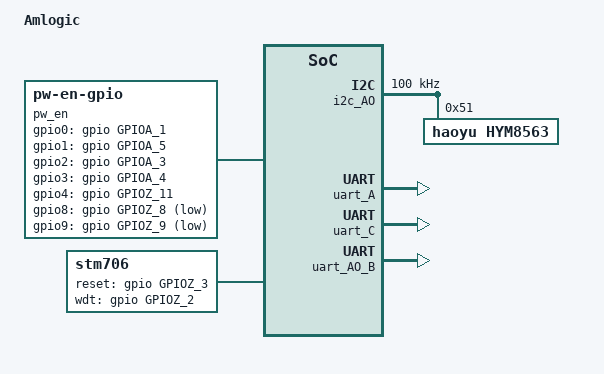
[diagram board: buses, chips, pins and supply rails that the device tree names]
#include "g12b_a311d_w400_buildroot.dts"
#include "rp-memory-config.dtsi"

//#include "rp-lcd-mipi-4-480-800.dtsi"
//#include "rp-lcd-mipi-5.5-1080-1920.dtsi"
//#include "rp-lcd-mipi-7-1024-600.dtsi"
//#include "rp-lcd-mipi-8-800-1280.dtsi"
//#include "rp-lcd-mipi-10-800-1280.dtsi"
#include "rp-lcd-mipi-10-1920-1200.dtsi"


/ {
        model = "Amlogic";
        amlogic-dt-id = "g12b_w400_b";
        compatible = "rp-a311d";

       pw_en {
               compatible = "pw-en-gpio";
               gpio0 = <&gpio GPIOA_1 GPIO_ACTIVE_HIGH>;//usb 5v
               gpio1 = <&gpio GPIOA_5 GPIO_ACTIVE_HIGH>; //BT POWER
               gpio2 = <&gpio GPIOA_3 GPIO_ACTIVE_HIGH>;// hub reset
               gpio3 = <&gpio GPIOA_4 GPIO_ACTIVE_HIGH>;//spk on
               gpio4 = <&gpio GPIOZ_11 GPIO_ACTIVE_HIGH>; //fan
//	       gpio5 = <&gpio_ao GPIOAO_10 GPIO_ACTIVE_HIGH>;//system led
//             gpio6 = <&gpio GPIOZ_8 GPIO_ACTIVE_LOW>;// otg mode
//             gpio7 = <&gpio GPIOZ_9 GPIO_ACTIVE_LOW>;//USB otg PWR en
               gpio8 = <&gpio GPIOZ_8 GPIO_ACTIVE_LOW>; // otg mode
               gpio9 = <&gpio GPIOZ_9 GPIO_ACTIVE_LOW>;// USB otg PWR en
               rp_not_deep_leep = <1>;
               status = "okay";
       };


       rp_gpio{
                status = "okay";
                compatible = "rp_gpio";
                gpioa11 {
                        gpio_num = <&gpio GPIOA_11 GPIO_ACTIVE_HIGH>;
                        gpio_function = <0>;            //0:output 1:input
                };
                gpioa10 {
                        gpio_num = <&gpio GPIOA_10 GPIO_ACTIVE_HIGH>;
                        gpio_function = <0>;            //0:output 1:input
                };
                gpioa13 {
                        gpio_num = <&gpio GPIOA_13 GPIO_ACTIVE_HIGH>;
                        gpio_function = <0>;            //0:output 1:input
                };
                gpioa12 {
                        gpio_num = <&gpio GPIOA_12 GPIO_ACTIVE_HIGH>;
                        gpio_function = <0>;            //0:output 1:input
                };
                gpioao11 {
                        gpio_num = <&gpio_ao GPIOAO_11 GPIO_ACTIVE_HIGH>;
                        gpio_function = <0>;            //0:output 1:input
                };
/*
                gpioz1 {
                        gpio_num = <&gpio GPIOZ_1 GPIO_ACTIVE_HIGH>;
                        gpio_function = <0>;            //0:output 1:input
                };
                gpioz0 {
                        gpio_num = <&gpio GPIOZ_0 GPIO_ACTIVE_HIGH>;
                        gpio_function = <0>;            //0:output 1:input
                };
                gpioz13 {
                        gpio_num = <&gpio GPIOZ_13 GPIO_ACTIVE_HIGH>;
                        gpio_function = <0>;            //0:output 1:input
                };
*/
                gpioz12 {
                        gpio_num = <&gpio GPIOZ_12 GPIO_ACTIVE_HIGH>;
                        gpio_function = <0>;            //0:output 1:input
                };
                gpioz10 {
                        gpio_num = <&gpio GPIOZ_10 GPIO_ACTIVE_HIGH>;
                        gpio_function = <0>;            //0:output 1:input
                };
/*
                gpioz9 {
                        gpio_num = <&gpio GPIOZ_9 GPIO_ACTIVE_HIGH>;
                        gpio_function = <0>;            //0:output 1:input
                };
                gpioz8 {
                        gpio_num = <&gpio GPIOZ_8 GPIO_ACTIVE_HIGH>;
                        gpio_function = <0>;            //0:output 1:input
                };
*/
                gpioz7 {
                        gpio_num = <&gpio GPIOZ_7 GPIO_ACTIVE_HIGH>;
                        gpio_function = <0>;            //0:output 1:input
                };
                gpioz6 {
                        gpio_num = <&gpio GPIOZ_6 GPIO_ACTIVE_HIGH>;
                        gpio_function = <0>;            //0:output 1:input
                };
                gpioz5 {
                        gpio_num = <&gpio GPIOZ_5 GPIO_ACTIVE_HIGH>;
                        gpio_function = <0>;            //0:output 1:input
                };
                gpioz4 {
                        gpio_num = <&gpio GPIOZ_4 GPIO_ACTIVE_HIGH>;
                        gpio_function = <0>;            //0:output 1:input
                };
                gpioa0 {
                        gpio_num = <&gpio GPIOA_0 GPIO_ACTIVE_HIGH>;
                        gpio_function = <0>;            //0:output 1:input
                };
		gpioao5 {
                        gpio_num = <&gpio_ao GPIOAO_5 GPIO_ACTIVE_HIGH>;
                        gpio_function = <1>;            //0:output 1:input
                };
        };

        stm706 {
                status = "okay";
                compatible = "stm706";
                reset_gpio = <&gpio GPIOZ_3 GPIO_ACTIVE_HIGH>;
                wdt_gpio = <&gpio GPIOZ_2 GPIO_ACTIVE_HIGH>;
        };

};

&i2c_AO {
        status = "okay";
        pinctrl-names="default";
        pinctrl-0=<&ao_i2c_master_pins1>;
        clock-frequency = <100000>; // default 100k

        hym8563: hym8563@51 {
                compatible = "haoyu,hym8563";
                reg = <0x51>;
                #clock-cells = <0>;
        };

};


//ttyS1 bt
&uart_A {
        status = "okay";
};

//ttyS3 485
&uart_C {
        status = "okay";
};

//ttyS4 uart1
&uart_AO_B {
        status = "okay";
};
